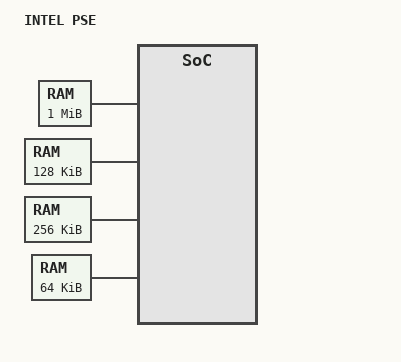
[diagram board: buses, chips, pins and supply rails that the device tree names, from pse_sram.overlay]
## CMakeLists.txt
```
cmake_minimum_required(VERSION 3.8.2)

#set(DTC_OVERLAY_FILE ${CMAKE_CURRENT_SOURCE_DIR}/pse_sram.overlay)

include($ENV{ZEPHYR_BASE}/cmake/app/boilerplate.cmake NO_POLICY_SCOPE)
project(pse_base)

target_sources(app PRIVATE src/main.c)
target_sources(app PRIVATE src/utility.c)
zephyr_sources_ifdef(CONFIG_PM_SERVICE src/sleep.c)
```

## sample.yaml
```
sample:
  description: PSE BASE APP.
  name: pse_base
  platforms: intel_pse
common:
    tags: samples
    harness: console
    harness_config:
      type: one_line
tests:
  singlethread:
    extra_args: CONF_FILE=prj_single.conf
  test:
    tags: samples
```

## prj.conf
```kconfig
# ** Base configuration  **
CONFIG_PRINTK=y
CONFIG_SHELL=y
CONFIG_LOG=y
CONFIG_LOG_STRDUP_MAX_STRING=80
CONFIG_LOG_STRDUP_BUF_COUNT=32
CONFIG_KERNEL_SHELL=y
CONFIG_THREAD_MONITOR=y
CONFIG_INIT_STACKS=y
CONFIG_BOOT_BANNER=y
CONFIG_THREAD_NAME=y
CONFIG_DEVICE_SHELL=y
CONFIG_SHELL_BACKEND_SERIAL_TX_RING_BUFFER_SIZE=64
CONFIG_TIMESLICING=n

# ** Start of ECLite section **
CONFIG_ECLITE_SERVICE=y
CONFIG_ECLITE_LOG_LEVEL_ERR=n
CONFIG_PWM=y
CONFIG_PWM_SEDI=y
CONFIG_PWM_SEDI_1=y
CONFIG_PWM_LOG_LEVEL_ERR=y
CONFIG_I2C=y
CONFIG_I2C_SEDI=y
CONFIG_I2C_2=y
CONFIG_I2C_LOG_LEVEL_ERR=y
CONFIG_GPIO=y
CONFIG_GPIO_SEDI=y
CONFIG_GPIO_LOG_LEVEL_ERR=y
CONFIG_I2C_7=y
CONFIG_DMA=y
CONFIG_DMA_SEDI=y
CONFIG_DMA_0=y

# ** User Mode Configuration **
CONFIG_USERSPACE=y
CONFIG_USER_APP_FRAMEWORK=y
CONFIG_APP_FRAMEWORK_LOG=1
CONFIG_NUM_USER_APP_AND_SERVICE=4
CONFIG_HEAP_MEM_POOL_SIZE=16384
CONFIG_IDLE_STACK_SIZE=1024
CONFIG_MAX_NUM_DEVICE_LIST=7
CONFIG_PM_SERVICE=y
CONFIG_PM_POLICY_RESIDENCY=y
CONFIG_PM_MAX_DEVICES=40

# ** WOL configuration **
#CONFIG_WOL_SERVICE=y
#CONFIG_WOL_LOG_LEVEL_ERR=y
#CONFIG_SIDEBAND_LOG_LEVEL_ERR=n
#CONFIG_TSYNC_LOG_LEVEL_ERR=n
```

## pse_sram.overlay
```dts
/*
 * Copyright (c) 2019 Intel Corporation
 *
 * SPDX-License-Identifier: Apache-2.0
 */

/ {

	l2sram: memory@60000000{
		device_type = "memory";
		compatible = "mmio-sram";
		label = "l2sram";
		reg = <0x60000000 0x100000>;
	};

	iccm: memory@0{
		device_type = "memory";
		compatible = "mmio-sram";
		label = "iccm";
		reg = <0 0x00020000>;
	};

	dccm: memory@20000000{
		device_type = "memory";
		compatible = "mmio-sram";
		label = "dccm";
		reg = <0x20020000 0x00040000>;
	};

	aon_rf: memory@70000000{
		device_type = "memory";
		compatible = "mmio-sram";
		label = "aonrf";
		reg = <0x70000000 0x10000>;
	};

};

/ {
 model = "INTEL PSE";
 compatible = "intel,pse";
 chosen {
  zephyr,flash = &iccm;
  zephyr,sram = &dccm;
  zephyr,l2sram = &l2sram;
  zephyr,iccm = &iccm;
  zephyr,dccm = &dccm;
  zephyr,aonrf = &aon_rf;
 };
};
```

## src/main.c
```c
/*
 * Copyright (c) 2020 Intel Corporation
 *
 * SPDX-License-Identifier: Apache-2.0
 */

/**
 * @file
 * @brief Sample Application for Base Image
 * This example demonstrates a simple application with shell
 * with minimum IOs and services enabled.
 * @{
 */

/**
 * @brief How to Build sample application.
 * Please refer “IntelPSE_SDK_Get_Started_Guide” for more details on how to
 * build the sample codes.
 */

/* Local Includes */
#include <fw_version.h>
#include <logging/log.h>
#include <pm_service.h>
#include <sys/printk.h>
#include <shell/shell.h>
#include <shell/shell_uart.h>
#include <stdlib.h>
#include <user_app_framework/user_app_framework.h>
#include <version.h>
#include <zephyr.h>

/* Unlock value for Data Watchpoint and Trace register */
#define DWT_UNLOCK_VAL 0xC5ACCE55
/* Value of 1MHz */
#define ONE_MEG 1000000

/* @brief firmware version
 * Display PSE firmware version
 */
static int cmd_fw_version(const struct shell *shell, size_t argc, char **argv)
{
	/* Use ARG_UNUSED([arg]) to avoid compiler
	 * warnings about unused arguments
	 */
	ARG_UNUSED(shell);
	ARG_UNUSED(argc);
	ARG_UNUSED(argv);

	printk("\nFW VERSION: %s.%s.%s\n", FWVER_MAJOR, FWVER_MINOR,
	       FWVER_PATCH);
	printk("FW HW IP: %s\n", FWVER_HW_IP);
	printk("FW BUILD: DATE %s, TIME %s, BY %s@%s\n", FWVER_BUILD_DATE,
	       FWVER_BUILD_TIME, FWVER_WHOAMI, FWVER_HOST_NAME);

	printk("\n");
	return 0;
}

/* @brief ARM core clock
 * Display PSE ARM core clock speed
 */
static int cmd_arm_core_clk(const struct shell *shell, size_t argc, char **argv)
{
	volatile uint32_t cycles;
	volatile DWT_Type *dwt = DWT;
	bool locked = false;

	/* Use ARG_UNUSED([arg]) to avoid compiler
	 * warnings about unused arguments
	 */
	ARG_UNUSED(shell);
	ARG_UNUSED(argc);
	ARG_UNUSED(argv);

	if (!dwt->CYCCNT) {
		CoreDebug->DEMCR |= CoreDebug_DEMCR_TRCENA_Msk;
		dwt->LAR = DWT_UNLOCK_VAL;
		dwt->CTRL |= DWT_CTRL_CYCCNTENA_Msk;
		locked = true;
	}

	/* Calculate ARM core speed. */
	dwt->CYCCNT = 0;
	k_busy_wait(1000000);
	cycles = dwt->CYCCNT;
	printk("Estimated ARM core speed %d MHz\n", cycles / ONE_MEG);

	if (locked) {
		CoreDebug->DEMCR &= ~CoreDebug_DEMCR_TRCENA_Msk;
		dwt->LAR = 0;
		dwt->CTRL &= ~DWT_CTRL_CYCCNTENA_Msk;
	}
	return 0;
}

/* @brief switch core clock
 * Switch core clock frequency
 */
static int cmd_switch_core_clock(const struct shell *shell, size_t argc,
				 char **argv)
{
	int clock_freq;

	/* Use ARG_UNUSED([arg]) to avoid compiler
	 * warnings about unused arguments
	 */
	ARG_UNUSED(shell);

	if (argc > 1) {
		/* Get command line argument. */
		clock_freq = atoi(argv[1]);
		/* Switch core clock frequency. */

		if (clock_freq == 100) {
			sedi_pm_switch_core_clock(CLOCK_FREQ_100M);
		} else if (clock_freq == 400) {
			sedi_pm_switch_core_clock(CLOCK_FREQ_400M);
		} else if (clock_freq == 500) {
			if (sedi_pm_get_hw_rev() == SEDI_HW_REV_A0) {
				printk("500 clock frequency not supported in "
				       "A0\n");
				return 0;
			}
			sedi_pm_switch_core_clock(CLOCK_FREQ_500M);

		}
	} else {
		printk("Invalid arguments: switch_core_clock <clock frequency "
		       "100/400/500>\n");
	}
	return 0;
}

SHELL_CMD_REGISTER(fw_version, NULL, "Display PSE FW version", cmd_fw_version);

SHELL_CMD_REGISTER(arm_core_clk, NULL, "Display PSE ARM Core clk speed",
		   cmd_arm_core_clk);

SHELL_CMD_REGISTER(switch_core_clock, NULL, "Switch core clock frequency",
		   cmd_switch_core_clock);

/* @brief main function
 * Enable shell and ECLite service
 */
void app_main(void *p1, void *p2, void *p3)
{
	/* Use ARG_UNUSED([arg]) to avoid compiler
	 * warnings about unused arguments
	 */
	ARG_UNUSED(p1);
	ARG_UNUSED(p2);
	ARG_UNUSED(p3);

	printk("PSE Base Application with ECLite [%s]\n", CONFIG_BOARD);
}

DEFINE_USER_MODE_APP(3, USER_MODE_APP, app_main, 1024, NULL, 0, NULL);

/**
 * @}
 */
```

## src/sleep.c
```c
/*
 * Copyright (c) 2020 Intel Corporation
 *
 * SPDX-License-Identifier: Apache-2.0
 */

/**
 * @file
 * @brief Helper file for pse_base main application.
 * This contains the following functions:
 * control_shell_input()  -- Enable/disable UART IRQ on the basis
 * of shell state.
 * stop_pwm() -- Stop PWM Device
 * print_dev_list() -- Print list of active devices
 * update_sleep_delay() -- Updates the system idle state time
 * sleep_d0i0() -- Enter the D0i0 sleep state
 * sleep_d0i1() -- Enter the D0i1 sleep state
 * sleep_d0i2() -- Enter the D0i2 sleep state
 * sleep_d0i3() -- Enter the D0i3 sleep state
 * cmd_long_sleep() -- Long Sleep - Enter a sleep state (idle time)
 * for a given amount of time
 * cmd_stop_eclite_service() -- Stop Intel(R) EC-Lite Service
 * pm_task() -- power management task to enter a D0ix sleep state
 * @{
 */

/* Local Includes */
#include <kernel.h>
#include <logging/log.h>
#include <pm_service.h>
#include <sys/printk.h>
#include <drivers/pwm.h>
#include <sedi.h>
#include <shell/shell.h>
#include <shell/shell_uart.h>
#include <soc.h>
#include <stdlib.h>
#include <string.h>
#include <drivers/uart.h>
#include <zephyr.h>

#define SLEEP_TIME K_MESC(30)
/* PWM device name */
#define PWM_1_NAME "PWM_1"
static const struct pm_state_info residency_info[] =
	PM_STATE_INFO_DT_ITEMS_LIST(DT_NODELABEL(cpu0));
static size_t residency_info_len = PM_STATE_DT_ITEMS_LEN(DT_NODELABEL(cpu0));


/* Idle time */
static uint32_t m_delay;
/* Pointer to UART device handler */
static const struct device *uart_dev;
/* Shell state */
static bool shell_active = true;

#ifdef CONFIG_ECLITE_SERVICE
extern void eclite_d0ix(uint8_t state);
#endif

/* @brief control shell input
 * Enable/disable UART IRQ on the basis of
 * shell state.
 */
void control_shell_input(bool enable)
{
	if (shell_active) {
		if (enable) {
			uart_irq_rx_enable(uart_dev);
			uart_irq_tx_enable(uart_dev);
		} else {
			uart_irq_rx_disable(uart_dev);
			uart_irq_tx_disable(uart_dev);
		}
	}
}

/* @brief stop PWM
 * Stop PWM device.
 */
#ifdef CONFIG_ECLITE_SERVICE
void stop_pwm(void)
{
	const struct device *pwm_1;

	/* Get the device handler for PWM device. */
	pwm_1 = device_get_binding(PWM_1_NAME);
	if (!pwm_1) {
		printk("%s - Bind failed\n", PWM_1_NAME);
		return;
	}
	pwm_pin_set_cycles(pwm_1, 7, 0xff, 0, 0);
}
#endif

/* @brief print device list
 * Print list of active devices
 */
static int print_dev_list(void)
{
	const struct device *pm_device_list;
	int count = 0, i;

	/* Get status of Atom owned PSE IO devices. */
	if (get_atom_dev_status() != 0) {
		printk("All Atom owned PSE IO devices are not idle\n");
		printk("Deferring D0ix entry !!!\n");
		return -1;
	}

	/* Get status of PSE IO devices. */
	if (pm_device_is_any_busy() != 0) {
		printk("All PSE IO devices are not idle, deferring D0ix entry "
		       "!!!\n");
		z_device_get_all_static(&pm_device_list);

		printk("Following device are not idle!!\n");
		for (i = 0; i < count; i++) {
			if (pm_device_is_busy(&pm_device_list[i])) {

				printk("%s\n", pm_device_list[i].name);
			}
		}
		return -1;
	}
	return 0;
}

/* @brief update sleep delay
 * Updates how much time to put the
 * system in idle state for.
 */
void update_sleep_delay(int delay)
{
	int ret;

	control_shell_input(false);
	ret = print_dev_list();
	/* Update sleep time if all devices idle. */
	if (ret == 0) {
		m_delay = delay;
	} else {
		control_shell_input(true);
	}
}

/* @brief sleep D0i0
 * Enter D0i0 sleep state
 */
static int sleep_d0i0(const struct shell *shell, size_t argc, char **argv)
{
	uint32_t delay = 0;

	/* Use ARG_UNUSED([arg]) to avoid compiler
	 * warnings about unused arguments
	 */
	ARG_UNUSED(shell);
	ARG_UNUSED(argc);
	ARG_UNUSED(argv);

	if (residency_info_len) {
		delay = ((residency_info[0].min_residency_us +
			  residency_info[0].min_residency_us / 2) / 1000);
		m_delay = delay;
		update_sleep_delay(delay);
	}
	return 0;
}

/* @brief sleep D0i1
 * Enter D0i1 sleep state
 */
static int sleep_d0i1(const struct shell *shell, size_t argc, char **argv)
{
	uint32_t delay = 0;

	/* Use ARG_UNUSED([arg]) to avoid compiler
	 * warnings about unused arguments
	 */
	ARG_UNUSED(shell);
	ARG_UNUSED(argc);
	ARG_UNUSED(argv);

	if (residency_info_len < 2) {
		printk("Not supported\n");
	} else {
		delay = ((residency_info[1].min_residency_us +
			  residency_info[1].min_residency_us / 2) / 1000);
		m_delay = delay;
		update_sleep_delay(delay);
	}
	return 0;
}

/* @brief sleep D0i2
 * Enter D0i2 sleep state
 */
static int sleep_d0i2(const struct shell *shell, size_t argc, char **argv)
{
	uint32_t delay = 0;

	/* Use ARG_UNUSED([arg]) to avoid compiler
	 * warnings about unused arguments
	 */
	ARG_UNUSED(shell);
	ARG_UNUSED(argc);
	ARG_UNUSED(argv);

	if (residency_info_len < 3) {
		printk("Not supported\n");
	} else {
		delay = ((residency_info[2].min_residency_us +
			  residency_info[2].min_residency_us / 2) / 1000);
		m_delay = delay;
		update_sleep_delay(delay);
	}
	return 0;
}

/* @brief sleep D0i3
 * Enter D0i3 sleep state
 */
static int sleep_d0i3(const struct shell *shell, size_t argc, char **argv)
{
	uint32_t delay = 0;

	/* Use ARG_UNUSED([arg]) to avoid compiler
	 * warnings about unused arguments
	 */
	ARG_UNUSED(shell);
	ARG_UNUSED(argc);
	ARG_UNUSED(argv);

	if (residency_info_len < 4) {
		printk("Not supported\n");
	} else {
		delay = ((residency_info[3].min_residency_us +
			  residency_info[3].min_residency_us / 2) / 1000);
		m_delay = delay;
		update_sleep_delay(delay);
	}
	return 0;
}

/* @brief long sleep
 * Enter sleep state for time given by
 * command line argument.
 */
static int cmd_long_sleep(const struct shell *shell, size_t argc, char **argv)
{
	int sleep_time = 0;

	/* Use ARG_UNUSED([arg]) to avoid compiler
	 * warnings about unused arguments
	 */
	ARG_UNUSED(shell);

	if (argc > 1) {
		sleep_time = atoi(argv[1]);
		sleep_time = sleep_time * 1000 * 60;
		update_sleep_delay(sleep_time);
	} else {
		printk(
			"Invalid arguments: long_sleep <sleep time in minutes>\n");
	}
	return 0;
}

/* @brief stop ECLite service
 * Stop ECLite service activity.
 */
#ifdef CONFIG_ECLITE_SERVICE
static int cmd_stop_eclite_service(const struct shell *shell, size_t argc,
				   char **argv)
{
	/* Use ARG_UNUSED([arg]) to avoid compiler
	 * warnings about unused arguments
	 */
	ARG_UNUSED(shell);
	ARG_UNUSED(argc);

	/* Stop PWM device before disabling ECLite service */
	stop_pwm();
	eclite_d0ix(1);
	return 0;
}
#endif

SHELL_STATIC_SUBCMD_SET_CREATE(
	d0ix, SHELL_CMD(d0i0, NULL, "Enter D0i0 sleep state", sleep_d0i0),
	SHELL_CMD(d0i1, NULL, "Enter D0i1 sleep state", sleep_d0i1),
	SHELL_CMD(d0i2, NULL, "Enter D0i2 sleep state", sleep_d0i2),
	SHELL_CMD(d0i3, NULL, "Enter D0i3 sleep state", sleep_d0i3),
	SHELL_SUBCMD_SET_END);

SHELL_CMD_REGISTER(sleep, &d0ix, "Sleep D0ix", NULL);
SHELL_CMD_REGISTER(long_sleep, NULL, "Sleep for inputted minutes",
		   cmd_long_sleep);

#ifdef CONFIG_ECLITE_SERVICE
SHELL_CMD_REGISTER(stop_eclite_service, NULL, "Stop EClite service",
		   cmd_stop_eclite_service);
#endif

/* @brief power management task
 * Enter D0ix sleep state
 */
void pm_task(void *arg1, void *arg2, void *arg3)
{
	/* Use ARG_UNUSED([arg]) to avoid compiler
	 * warnings about unused arguments
	 */
	ARG_UNUSED(arg1);
	ARG_UNUSED(arg2);
	ARG_UNUSED(arg3);

	int ret = 0;

	/* Get the device handler for UART device. */
	uart_dev = DEVICE_DT_GET(DT_CHOSEN(zephyr_console));
	if (!uart_dev) {
		printk("Failed to get shell device binding\n");
		return;
	}

	/* Determine shell is activated or not. */
	ret = sedi_get_config(SEDI_CONFIG_SHELL_EN, NULL);
	if (ret != SEDI_CONFIG_SET) {
		printk("SHELL is deactivated\n");
		uart_irq_rx_disable(uart_dev);
		shell_active = false;
		return;
	}

	/* Enter D0ix state. */
	while (1) {
		if (m_delay > 0) {
			printk("\n\n ----- Enter sleep %d -----\n\n", m_delay);

			k_sleep(K_MSEC(m_delay));
			control_shell_input(true);

			printk("\n\n ----- Exit sleep %d-----\n\n", m_delay);
			m_delay = 0;
		}

		k_busy_wait(1000);
	}
}

K_THREAD_DEFINE(my_tid, 1024, pm_task, NULL, NULL, NULL, 30, 0, 0);

/**
 * @}
 */
```

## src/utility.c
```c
/*
 * Copyright (c) 2020 Intel Corporation
 *
 * SPDX-License-Identifier: Apache-2.0
 */

/**
 * @file
 * @brief Helper file for pse_base main application.
 * This contains the following functions:
 * cmd_reg_read() -- Read data at given address
 * cmd_reg_write() -- Write data at given address
 * cmd_mem_dump() -- Display memory dump
 * @{
 */

/* Local Includes */
#include <kernel.h>
#include <logging/log.h>
#include <sys/printk.h>
#include <sedi.h>
#include <shell/shell.h>
#include <shell/shell_uart.h>
#include <soc.h>
#include <stdlib.h>
#include <zephyr.h>

/** Note: To use commands register read, register write and memory dump
 * enable the MEM_UTILS macro.
 */
#undef MEM_UTILS

char *pse_io_list[] = {
	"I2C 0",  "I2C 1",  "I2C 2",  "I2C 3",  "I2C 4",  "I2C 5",
	"I2C 6",  "I2C 7",  "UART 0", "UART 1", "UART 2", "UART 3",
	"UART 4", "UART 5", "SPI 0",  "SPI 1",  "SPI 2",  "SPI 3",
	"GBE 0",  "GBE 1",  "CAN 0",  "CAN 1",  "GPIO0",  "GPIO1",
	"DMA0",   "DMA1",   "DMA2",   "QEP 0",  "QEP 1",  "QEP 2",
	"QEP 3",  "I2S 0",  "I2S 1",  "PWM",    "IPC", NULL
};

/* @brief display IO ownership
 * Display PSE IO's ownerread settings status.
 */
static int cmd_ownership(const struct shell *shell, size_t argc, char **argv)
{
	/* Use ARG_UNUSED([arg]) to avoid compiler
	 * warnings about unused arguments
	 */
	ARG_UNUSED(shell);
	ARG_UNUSED(argc);
	ARG_UNUSED(argv);

	int i = 0;
	sedi_dev_ownership_t ownership = 0;

	for (i = 0; i < PSE_DEV_MAX; i++) {
		printk("%2d. %8s : ", i, pse_io_list[i]);
		ownership = sedi_get_dev_ownership((sedi_dev_table_t)i);
		if (ownership == DEV_PSE_OWNED) {
			printk("[ PSE  ]");
		} else if ((ownership == DEV_LH_OWNED_MSI) ||
			   (ownership == DEV_LH_OWNED_SB)) {
			printk("[ Host ]");
			if (ownership == DEV_LH_OWNED_MSI) {
				printk(" [ MSI ]");
			} else if (ownership == DEV_LH_OWNED_SB) {
				printk(" [ SB  ]");
			}
		} else {
			printk("[ None ]");
		}
		printk("\n");
	}
	return 0;
}

#ifdef MEM_UTILS
/* @brief read register
 * Read data at address given
 * by command line argument.
 */
static int cmd_reg_read(const struct shell *shell, size_t argc, char **argv)
{
	int size;
	unsigned int addr;
	unsigned int data;

	/* Get the command line arguments. */
	if (argc > 1) {
		size = atoi(argv[1]);
	}

	if (argc > 2) {
		addr = strtol(argv[2], NULL, 16);
	} else {
		printk(
			"Invalid arguments: reg_read <size 8/16/32> <address>\n");
		return 0;
	}

	/* Read data. */
	switch (size) {
	case 8:
		data = sys_read8(addr);
		break;

	case 16:
		data = sys_read16(addr);
		break;

	case 32:
		data = sys_read32(addr);
		break;

	default:
		printk("Invalid size, reg_read <size 8/16/32> <address>\n");
		return 0;
	}
	printk("%d bit value at %x :  %x\n", size, addr, data);
	return 0;
}

/* @brief write register
 * Write data at address given by
 * command line arguments.
 */
static int cmd_reg_write(const struct shell *shell, size_t argc, char **argv)
{
	int size;
	unsigned int addr;
	unsigned int data;

	/* Get the command line arguments. */
	if (argc > 1) {
		size = atoi(argv[1]);
	}

	if (argc > 2) {
		addr = strtol(argv[2], NULL, 16);
	}

	if (argc > 3) {
		data = strtol(argv[3], NULL, 16);
	} else {
		printk("Invalid arguments: reg_write <size 8/16/32> <address> "
		       "<data>\n");
		return 0;
	}

	/* Write data. */
	switch (size) {
	case 8:
		sys_write8((data & 0xFF), addr);
		break;

	case 16:
		sys_write16((data & 0xFFFF), addr);
		break;

	case 32:
		sys_write32(data, addr);
		break;

	default:
		printk("Invalid size, reg_read <size 8/16/32> <address>\n");
		return 0;
	}
	printk("%d bit value wrote at %x :  %x\n", size, addr, data);
	return 0;
}

/* @brief memory dump
 * Display memory dump
 */
static int cmd_mem_dump(const struct shell *shell, size_t argc, char **argv)
{
	int dwords, i, j = 0;
	unsigned int addr;
	unsigned int data;
	unsigned int columns = 8;

	/* Get the command line arguments. */
	if (argc > 1) {
		dwords = atoi(argv[1]);
	}

	if (argc > 2) {
		addr = strtol(argv[2], NULL, 16);
	} else {
		printk("Invalid arguments: mem_dump <dwords> <address>"
		       "[<columns>]\n");
		return 0;
	}

	if (argc > 3) {
		columns = strtol(argv[3], NULL, 16);
		if (columns < 1) {
			printk("Invalid arguments: mem_dump <dwords> <address>"
			       "<columns (should be greater than 0)>\n");
			return 0;
		}
	}

	/* Print memory dump. */
	printk("\n %08X: ", addr);
	for (i = 0; i < (dwords * 4); i += 4) {
		if (j == columns) {
			printk("\n %08X: ", (addr + i));
			j = 0;
		}
		data = sys_read32((addr + i));
		printk("%08X ", data);
		j++;
	}
	printk("\n");
	return 0;
}

SHELL_CMD_REGISTER(reg_read, NULL, "Read register", cmd_reg_read);
SHELL_CMD_REGISTER(reg_write, NULL, "Write register", cmd_reg_write);
SHELL_CMD_REGISTER(mem_dump, NULL, "Dump memory", cmd_mem_dump);
#endif

SHELL_CMD_REGISTER(ownership, NULL, "Display IO's ownership", cmd_ownership);

/**
 * @}
 */
```
